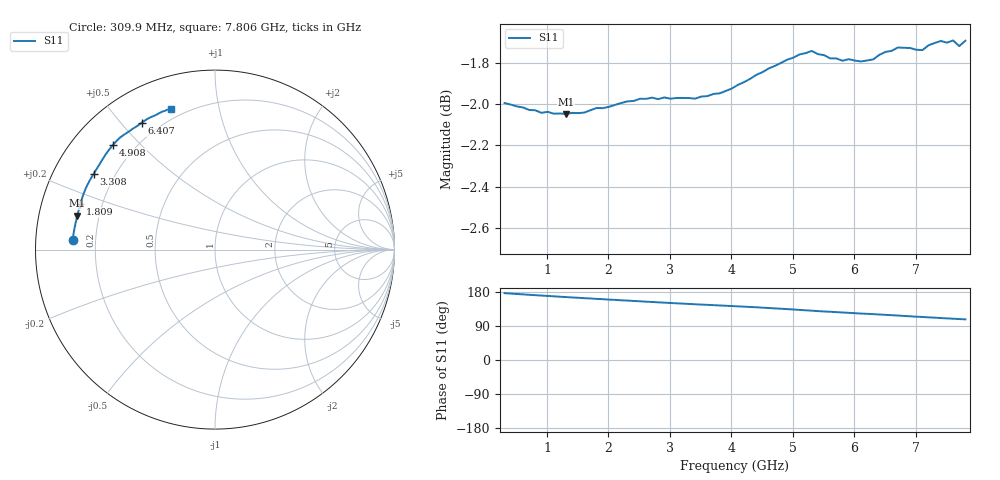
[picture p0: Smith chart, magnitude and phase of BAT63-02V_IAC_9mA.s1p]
! Infineon Technologies  Discrete & RF Semiconductors
! BAT63-02V
! IAC = 9 mA
! One-Port S-Parameters
# Hz  S  MA  R  50
!f  S11
!Hz  Mag  Ang
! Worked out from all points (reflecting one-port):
!   76 points, 309.9 MHz to 7.806 GHz, reference 50 ohm
!   lowest |S11| = -2.0 dB at 1.309 GHz (marker M1), VSWR 8.53, Z = 5.95 + j6 ohm
!   phase of S11 starts at 176 deg and turns -69 deg over the sweep
!   S11 on the Smith chart (normalised r, x): 309.9 MHz: 0.11, +0.03; 1.809 GHz: 0.12, +0.16; 3.308 GHz: 0.12, +0.28; 4.908 GHz: 0.12, +0.42; 6.407 GHz: 0.13, +0.57; 7.806 GHz: 0.15, +0.73
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3.0985e8  0.7949 176.3
7.0965e8  0.7918 172.1
1.30935e9  0.79 166.1
1.8091e9  0.7927 161.2
1.90905e9  0.7926 160.5
2.009e9  0.7932 159.3
2.10895e9  0.7941 158.7
2.2089e9  0.7949 157.5
2.30885e9  0.7956 156.9
2.50875e9  0.7968 155.0
3.0085e9  0.7968 150.4
3.2084e9  0.7972 148.8
3.30835e9  0.7971 147.9
4.10795e9  0.8031 141.5
4.4078e9  0.8076 139.1
4.90755e9  0.8144 134.2
5.0075e9  0.8153 133.3
5.4073e9  0.8169 129.0
6.007e9  0.814 123.5
6.4068e9  0.8166 120.1
6.70665e9  0.8199 117.4
6.90655e9  0.8197 115.4
7.0065e9  0.8189 114.2
7.10645e9  0.8188 113.6
7.2064e9  0.821 112.5
7.30635e9  0.822 111.8
7.4063e9  0.823 110.7
7.8061e9  0.8231 107.3
